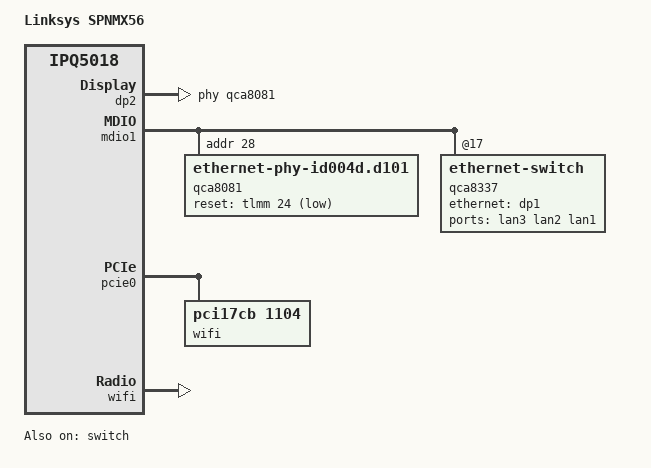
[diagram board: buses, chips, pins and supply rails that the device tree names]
/dts-v1/;

#include "ipq5018-mx-base.dtsi"

/ {
	model = "Linksys SPNMX56";
	compatible = "linksys,spnmx56", "qcom,ipq5018";
};

&switch {
	status = "okay";

	qcom,port_phyinfo {
		port@0 {
			port_id = <1>;
			mdiobus = <&mdio0>;
			phy_address = <7>;
			phy_dac = <0x10 0x10>;
		};

		port@1 {
			port_id = <2>;
			mdiobus = <&mdio1>;
			phy_address = <28>;
			port_mac_sel = "QGMAC_PORT";

			/delete-property/ forced-speed;
			/delete-property/ forced-duplex;
		};
	};
};

&dp2 {
	status = "okay";

	label = "wan";
	phy-handle = <&qca8081>;

	/delete-node/ fixed-link;
};

&mdio1 {
	status = "okay";

	qca8081: ethernet-phy@28 {
		compatible = "ethernet-phy-id004d.d101";
		reg = <28>;
		reset-deassert-us = <10000>;
		reset-gpios = <&tlmm 24 GPIO_ACTIVE_LOW>;
	};

	qca8337: ethernet-switch@17 {
		ports {
			#address-cells = <1>;
			#size-cells = <0>;

			port@2 {
				reg = <2>;
				label = "lan3";
				phy-handle = <&qca8337_1>;
			};

			port@3 {
				reg = <3>;
				label = "lan2";
				phy-handle = <&qca8337_2>;
			};

			port@4 {
				reg = <4>;
				label = "lan1";
				phy-handle = <&qca8337_3>;
			};

			port@5 {
				reg = <5>;
				phy-handle = <&qca8337_4>;
				phy-mode = "gmii";
				ethernet = <&dp1>;
			};

			/delete-node/ port@6;
		};
	};
};

&pcie0 {
	status = "okay";
	perst-gpios = <&tlmm 15 GPIO_ACTIVE_LOW>;

	pcie@0 {
		wifi@0,0 {
			status = "okay";
			compatible = "pci17cb,1104";
			qcom,ath11k-fw-memory-mode = <1>;
			qcom,ath11k-calibration-variant = "Linksys-SPNMX56";
			reg = <0x00010000 0 0 0 0>;
		};
	};
};

&wifi {
	status = "okay";

	qcom,rproc = <&q6v5_wcss>;
	qcom,ath11k-calibration-variant = "Linksys-SPNMX56";
};
